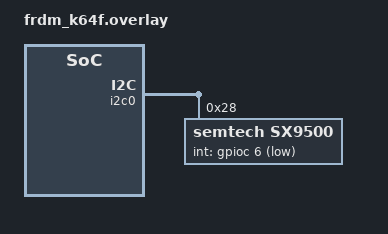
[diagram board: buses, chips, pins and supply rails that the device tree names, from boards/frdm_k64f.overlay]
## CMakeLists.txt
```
# SPDX-License-Identifier: Apache-2.0

cmake_minimum_required(VERSION 3.20.0)
find_package(Zephyr REQUIRED HINTS $ENV{ZEPHYR_BASE})
project(sx9500)

FILE(GLOB app_sources src/*.c)
target_sources(app PRIVATE ${app_sources})
```

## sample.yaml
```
sample:
  name: SX9500 Sensor Sample
tests:
  sample.sensor.sx9500:
    harness: sensor
    tags: sensors
    depends_on:
      - i2c
      - gpio
    filter: dt_compat_enabled("semtech,sx9500")
```

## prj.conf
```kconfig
CONFIG_I2C=y
CONFIG_GPIO=y
CONFIG_SENSOR=y
```

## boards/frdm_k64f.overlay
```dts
/*
 * Copyright (c) 2019, Linaro Ltd.
 *
 * SPDX-License-Identifier: Apache-2.0
 */

&i2c0 {
	sx9500@28 {
		compatible = "semtech,sx9500";
		reg = <0x28>;
		int-gpios = <&gpioc 6 GPIO_ACTIVE_LOW>;
	};
};
```

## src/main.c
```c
/*
 * Copyright (c) 2016 Intel Corporation
 *
 * SPDX-License-Identifier: Apache-2.0
 */

#include <zephyr/kernel.h>
#include <zephyr/device.h>
#include <zephyr/drivers/sensor.h>
#include <stdio.h>
#include <zephyr/sys/printk.h>
#ifdef CONFIG_SX9500_TRIGGER

static void sensor_trigger_handler(const struct device *dev,
				   const struct sensor_trigger *trig)
{
	struct sensor_value prox_value;
	int ret;

	ret = sensor_sample_fetch(dev);
	if (ret) {
		printk("sensor_sample_fetch failed ret %d\n", ret);
		return;
	}

	ret = sensor_channel_get(dev, SENSOR_CHAN_PROX, &prox_value);
	printk("prox is %d\n", prox_value.val1);
}

static void setup_trigger(const struct device *dev)
{
	int ret;
	struct sensor_trigger trig = {
		.type = SENSOR_TRIG_NEAR_FAR,
	};

	ret = sensor_trigger_set(dev, &trig, sensor_trigger_handler);
	if (ret) {
		printk("sensor_trigger_set err %d\n", ret);
	}
}

void do_main(const struct device *dev)
{
	setup_trigger(dev);

	while (1) {
		k_sleep(K_MSEC(1000));
	}
}

#else /* CONFIG_SX9500_TRIGGER */

static void do_main(const struct device *dev)
{
	int ret;
	struct sensor_value prox_value;

	while (1) {
		ret = sensor_sample_fetch(dev);
		if (ret) {
			printk("sensor_sample_fetch failed ret %d\n", ret);
			return;
		}

		ret = sensor_channel_get(dev, SENSOR_CHAN_PROX, &prox_value);
		printk("prox is %d\n", prox_value.val1);

		k_sleep(K_MSEC(1000));
	}
}

#endif /* CONFIG_SX9500_TRIGGER */

int main(void)
{
	const struct device *const dev = DEVICE_DT_GET_ONE(semtech_sx9500);

	if (!device_is_ready(dev)) {
		printk("sensor: device not ready.\n");
		return 0;
	}

	printk("device is %p, name is %s\n", dev, dev->name);

	do_main(dev);
	return 0;
}
```
